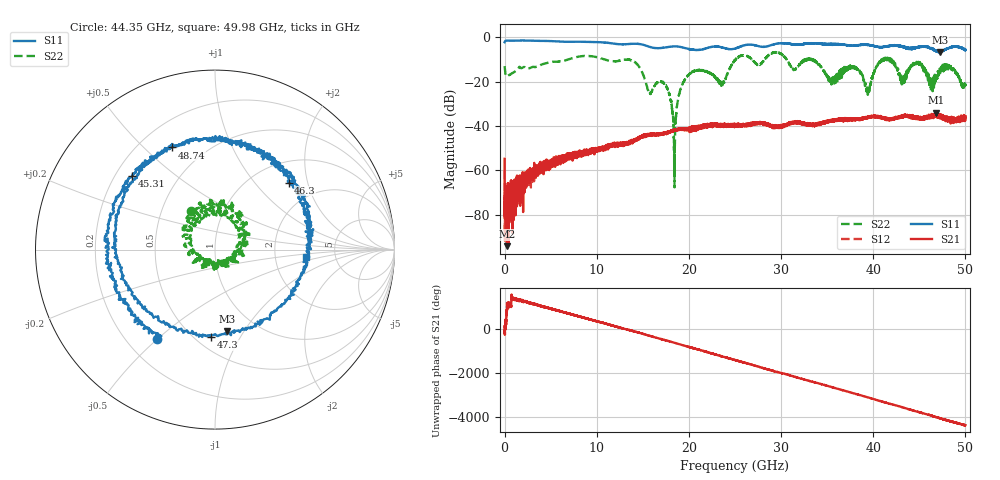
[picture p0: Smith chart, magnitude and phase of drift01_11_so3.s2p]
!Created with skrf (http://scikit-rf.org).
# Hz S RI R 50.0
!freq ReS11 ImS11 ReS21 ImS21 ReS12 ImS12 ReS22 ImS22
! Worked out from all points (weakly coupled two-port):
!   10001 points, 300 kHz to 50 GHz, reference 50 ohm
!   highest |S21| = -33.99 dB at 46.86 GHz (marker M1); lowest = -94.2 dB at 255.3 MHz (marker M2)
!   lowest |S11| = -6.8 dB at 47.21 GHz (marker M3), VSWR 2.69, Z = 36.8 - j42.2 ohm
!   |S11| at or under -10 dB: nowhere
!   |S22| runs from -67.7 to -6.6 dB; largest |S21 - S12| = 0.0047
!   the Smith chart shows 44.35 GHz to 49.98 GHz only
!   S11 on the Smith chart (normalised r, x): 44.35 GHz: 0.32, -0.50; 45.31 GHz: 0.27, +0.36; 46.3 GHz: 1.42, +1.53; 47.3 GHz: 0.60, -0.76; 48.74 GHz: 0.33, +0.61; 49.98 GHz: 3.04, -0.35
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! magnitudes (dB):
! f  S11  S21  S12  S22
! 300 kHz  -2.1  -54.8  -59.9  -12.9
! 255.3 MHz  -1.4  -94.2  -77.8  -17.5
! 8.335 GHz  -2.0  -51.5  -52.6  -8.5
! 16.67 GHz  -4.9  -43.7  -43.8  -19.9
! 17.74 GHz  -4.4  -42.7  -42.6  -23.8
! 18.42 GHz  -4.1  -42.0  -41.9  -50.9
! 19.89 GHz  -5.1  -41.5  -41.4  -17.1
! 23.59 GHz  -4.5  -39.2  -39.3  -20.4
! 25 GHz  -5.0  -39.9  -39.6  -10.3
! 33.34 GHz  -2.6  -39.7  -39.2  -9.9
! 39.37 GHz  -3.4  -36.0  -36.1  -23.6
! 41.67 GHz  -3.9  -36.7  -36.9  -9.6
! 43.18 GHz  -4.1  -35.6  -35.8  -19.2
! 44.35 GHz  -4.5  -35.5  -36.0  -11.9
! 45.31 GHz  -4.2  -36.0  -36.6  -13.7
! 46.3 GHz  -5.1  -35.3  -35.5  -21.8
! 46.86 GHz  -6.1  -34.0  -35.2  -16.4
! 47.21 GHz  -6.8  -35.8  -35.6  -14.7
! 47.3 GHz  -6.3  -35.6  -35.9  -15.2
! 48.74 GHz  -4.2  -36.7  -37.6  -14.8
! 49.98 GHz  -5.8  -36.3  -36.7  -21.4
! 50 GHz  -5.6  -35.6  -36.2  -21.4
